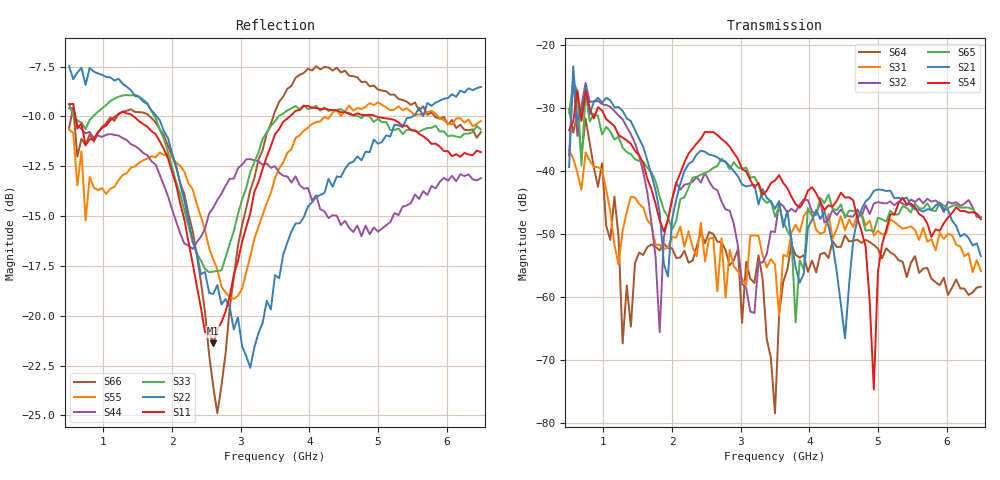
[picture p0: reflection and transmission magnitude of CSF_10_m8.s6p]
!Keysight Technologies,M9804A,MY58100912,A.14.10.03
!Date: Thursday, April 27, 2023 10:28:33
!Correction: S11(C  6-Port  )
!S12(C  6-Port  )
!S13(C  6-Port  )
!S14(C  6-Port  )
!S15(C  6-Port  )
!S16(C  6-Port  )
!S21(C  6-Port  )
!S22(C  6-Port  )
!S23(C  6-Port  )
!S24(C  6-Port  )
!S25(C  6-Port  )
!S26(C  6-Port  )
!S31(C  6-Port  )
!S32(C  6-Port  )
!S33(C  6-Port  )
!S34(C  6-Port  )
!S35(C  6-Port  )
!S36(C  6-Port  )
!S41(C  6-Port  )
!S42(C  6-Port  )
!S43(C  6-Port  )
!S44(C  6-Port  )
!S45(C  6-Port  )
!S46(C  6-Port  )
!S51(C  6-Port  )
!S52(C  6-Port  )
!S53(C  6-Port  )
!S54(C  6-Port  )
!S55(C  6-Port  )
!S56(C  6-Port  )
!S61(C  6-Port  )
!S62(C  6-Port  )
!S63(C  6-Port  )
!S64(C  6-Port  )
!S65(C  6-Port  )
!S66(C  6-Port  )
!S6P File: Measurement: :
# Hz S  RI  R 50
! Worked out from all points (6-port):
!   101 points, 500 MHz to 6.5 GHz, reference 50 ohm
!   strongest paths, dB at 500 MHz, 2 GHz, 3.5 GHz, 5 GHz, 6.5 GHz:
!     S54: -33.6, -44.6, -41.5, -56.1, -47.7
!     S21: -39.4, -47.7, -46.0, -43.0, -53.5
!     S65: -30.9, -49.4, -47.3, -47.4, -47.4
!     S32: -37.5, -44.6, -49.7, -45.0, -47.3
!     S31: -36.7, -50.5, -54.8, -49.5, -55.9
!     S64: -30.3, -52.3, -78.5, -52.3, -58.4
!   lowest |S11| = -21.4 dB at 2.6 GHz (marker M1), VSWR 1.19, Z = 42.4 + j2.14 ohm
!   |S11| at or under -10 dB: 590.4 MHz to 1.174 GHz (583.7 MHz wide, 66.2 % of centre); 1.441 GHz to 3.716 GHz (2.275 GHz wide, 88.2 % of centre); 4.974 GHz to end of sweep
